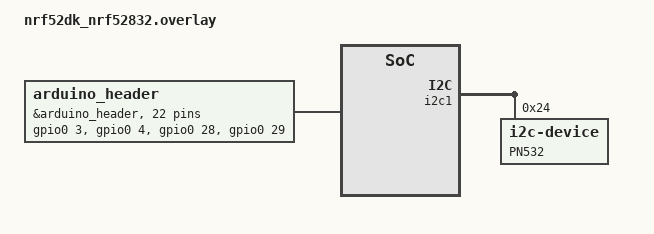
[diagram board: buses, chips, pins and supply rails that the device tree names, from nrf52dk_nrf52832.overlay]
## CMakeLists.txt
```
cmake_minimum_required(VERSION 3.20.0)
find_package(Zephyr REQUIRED HINTS $ENV{ZEPHYR_BASE})

project(i2ctest)

target_sources(app PRIVATE src/main.c)
target_sources(app PRIVATE src/nfc.c)
target_sources(app PRIVATE src/passing_buffer.c)
```

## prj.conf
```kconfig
CONFIG_I2C=y

CONFIG_SHELL=y
CONFIG_I2C_SHELL=y
# Enable Zephyr application to be booted by MCUboot
CONFIG_BOOTLOADER_MCUBOOT=y
```

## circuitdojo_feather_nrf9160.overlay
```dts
// To get started, press Ctrl+Space (or Option+Esc) to bring up the completion menu and view the available nodes.

// You can also use the buttons in the sidebar to perform actions on nodes.
// Actions currently available include:

// * Enabling / disabling the node
// * Adding the bus to a bus
// * Removing the node
// * Connecting ADC channels

// For more help, browse the DeviceTree documentation at https://docs.zephyrproject.org/latest/guides/dts/index.html
// You can also visit the nRF DeviceTree extension documentation at https://nrfconnect.github.io/vscode-nrf-connect/devicetree/nrfdevicetree.html


&i2c1 {
    PN532@24{
        compatible = "i2c-device";
        status = "okay";
        reg = < 0x24 >;
    };
    status = "okay";
};
```

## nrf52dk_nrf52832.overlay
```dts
// To get started, press Ctrl+Space (or Option+Esc) to bring up the completion menu and view the available nodes.

// You can also use the buttons in the sidebar to perform actions on nodes.
// Actions currently available include:

// * Enabling / disabling the node
// * Adding the bus to a bus
// * Removing the node
// * Connecting ADC channels

// For more help, browse the DeviceTree documentation at https://docs.zephyrproject.org/latest/guides/dts/index.html
// You can also visit the nRF DeviceTree extension documentation at https://nrfconnect.github.io/vscode-nrf-connect/devicetree/nrfdevicetree.html


&i2c1 {
    PN532@24{
        compatible = "i2c-device";
        status = "okay";
        reg = < 0x24 >;
    };
    compatible = "nordic,nrf-twi";
	/* Cannot be used together with spi1. */
	status = "okay";
	pinctrl-0 = <&i2c1_default>;
	pinctrl-1 = <&i2c1_sleep>;
	pinctrl-names = "default", "sleep";
};
&arduino_header {
    gpio-map = <0 0 &gpio0 3 0>,
               <1 0 &gpio0 4 0>,
               <2 0 &gpio0 28 0>,
               <3 0 &gpio0 29 0>,
               <4 0 &gpio0 30 0>,
               <5 0 &gpio0 31 0>,
               <6 0 &gpio0 11 0>,
               <7 0 &gpio0 12 0>,
               <8 0 &gpio0 13 0>,
               <9 0 &gpio0 14 0>,
               <10 0 &gpio0 15 0>,
               <11 0 &gpio0 16 0>,
               <12 0 &gpio0 17 0>,
               <13 0 &gpio0 18 0>,
               <14 0 &gpio0 19 0>,
               <15 0 &gpio0 20 0>,
               <16 0 &gpio0 22 0>,
               <17 0 &gpio0 23 0>,
               <18 0 &gpio0 24 0>,
               <19 0 &gpio0 25 0>,
               <20 0 &gpio0 26 0>,
               <21 0 &gpio0 27 0>;
};
```

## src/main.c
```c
#include <zephyr/kernel.h>
#include <zephyr/device.h>
#include <zephyr/devicetree.h>
#include <zephyr/drivers/i2c.h>
#include <zephyr/drivers/gpio.h>
#include <zephyr/sys/util.h>
#include <zephyr/sys/printk.h>

#include "nfc.h"
#include "passing_buffer.h"

#define SW0_NODE	DT_ALIAS(sw0)
#if !DT_NODE_HAS_STATUS(SW0_NODE, okay)
#error "Unsupported board: sw0 devicetree alias is not defined"
#endif

static const struct gpio_dt_spec button = GPIO_DT_SPEC_GET_OR(SW0_NODE, gpios,
							      {0});
static struct gpio_callback button_cb_data;



struct passing_buffer passing_buffer;

//Semaphore for ensuring no problems with the shared memory
K_SEM_DEFINE(buffer_semaphore, 1, 1);

uint32_t rfid_tag1;
uint32_t rfid_tag2;


void button_pressed(const struct device *dev, struct gpio_callback *cb,
		    uint32_t pins)
{
	printk("IRQ");
}


void network_thread(struct passing_buffer *buffer, uint32_t *rfid_tag){

    

    while(1){



        if (size(buffer)){

            k_sem_take(&buffer_semaphore, K_FOREVER);

            dequeue(buffer, rfid_tag);

            k_sem_give(&buffer_semaphore);

            //TODO: send rfid tag to the MQTT broker

            k_msleep(1000);//simulate poor connection

            printk("rfid tag: %X\n", *rfid_tag);
        }

        

    }
}

void tag_reader_thread(struct passing_buffer *buffer, uint32_t *rfid_tag){


    while(1){

        int ret = pn532_get_tag(rfid_tag);

        k_sem_take(&buffer_semaphore, K_FOREVER);
        if (ret == 0) {
            enqueue(buffer, rfid_tag);
            printk("%x added to buffer\n", *rfid_tag);

            k_msleep(200);
        }
        k_sem_give(&buffer_semaphore);
    }
}


//define and start the two threads at their corresponding entrypoints
K_THREAD_DEFINE(thread0_id, 2048, network_thread, &passing_buffer, &rfid_tag1, NULL,
		7, 0, 1000);
K_THREAD_DEFINE(thread1_id, 2048, tag_reader_thread, &passing_buffer, &rfid_tag2, NULL,
		6, 0, 1000);


int button_setup(){
    int ret;

	if (!gpio_is_ready_dt(&button)) {
		printk("Error: button device %s is not ready\n",
		       button.port->name);
		return 0;
	}

	ret = gpio_pin_configure_dt(&button, GPIO_INPUT);
	if (ret != 0) {
		printk("Error %d: failed to configure %s pin %d\n",
		       ret, button.port->name, button.pin);
		return 0;
	}

	ret = gpio_pin_interrupt_configure_dt(&button,
					      GPIO_INT_EDGE_TO_ACTIVE);
	if (ret != 0) {
		printk("Error %d: failed to configure interrupt on %s pin %d\n",
			ret, button.port->name, button.pin);
		return 0;
	}

	gpio_init_callback(&button_cb_data, button_pressed, BIT(button.pin));
	gpio_add_callback(button.port, &button_cb_data);
	printk("Set up button at %s pin %d\n", button.port->name, button.pin);
}

//main functions is used for setup code
int main(){
    button_setup();
    int ret = pn532_nfc_setup();
    if (ret){
        printk("Setup failed");
    }else{
        printk("Setup complete\n");
    }
    k_msleep(1000000);
    return 0;
}
```

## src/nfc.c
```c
#include <zephyr/kernel.h>
#include <zephyr/device.h>
#include <zephyr/devicetree.h>
#include <zephyr/drivers/i2c.h>
#include <zephyr/sys/util.h>
#include <zephyr/sys/printk.h>
#include "nfc.h"

#define PN532_I2C_ADDRESS 0x24


//I2C stuff
#define I2C1_NODE DT_NODELABEL(i2c1)
static const struct device *i2c1_dev = DEVICE_DT_GET(I2C1_NODE);

uint8_t command[11] = {
    0x00, //preamble
    0x00, // 0x00FF command start
    0xFF, 
    4, //data length
    0xFC, //data length checksum

    0xD4, //D4= host -> PN532
    0x4A, //comand code for InListPassiveTarget
    0x01, //return 1 target
    0x00, //scan for Type A

    0xE1, //data checksum
    0x00, //postamble
    };
uint8_t SamConfig[12] = {
    0x00, //preamble
    0x00, // 0x00FF command start
    0xFF, 
    5, //data length
    0xFB, //data length checksum

    0xD4, //D4= host -> PN532
    0x14, //command code
    0x01, //normal mode
    0x00, //timeout: 00->no timeout
    0x01, //use IRQ

    0x16, //data checksum
    0x00, //postamble
};

void print_bytes(uint8_t bytes[], uint32_t len){
    for(int i = 0; i < len; i++){
        printk("%02X ", bytes[i]);
    }
}

int PN532_wait_for_RDY(){
    uint8_t buf[1];
    int ret;
    for(int i = 0; i < 100; i++){
        //give time
        k_msleep(20);

        ret = i2c_read(i2c1_dev, buf, 1, PN532_I2C_ADDRESS);
        if(ret){
            return -2;
        }

        if(buf[0] == 1){
            return 0;
        }
    }
    return -1;
}
/**
 * @brief Attempts to send a command to the pn532 and waits for the response 
 * 
 * @param dev Pointer to the device structure for an I2C controller driver configured in controller mode.
 * @param i2c_address i2c address of the pn532
 * @param msg Memory pool from which the data is transferred.
 * @param msg_len Amount of bytes in data to be transferred
 * @param res_buf Memory pool to store ressponse
 * @param res_buf_len Amount of bytes in response
 * @param verbose prints debugging information
 * @return int 0 if success, negative if failed
 */
int pn532_send_receive_message(struct device *dev, uint8_t i2c_address, uint8_t *msg, uint32_t msg_len, uint8_t *res_buf, uint32_t res_buf_len, bool verbose){
    int ret;


    ret = i2c_write(dev, msg, msg_len, i2c_address);
    if (ret){
        return -1; //write error
    }

    if (verbose){
        printk("Msg sent\n");
    }

    ret = PN532_wait_for_RDY();
    if (ret){
        return -3+ret; //RDY wait error
    }

    if (verbose){
        printk("RDY\n");
    }

    ret = i2c_read(dev, res_buf, 7, i2c_address); //check for ACK
    if(ret){
        return -2; // read error
    }

    if (verbose){
        printk("Ack recieved\n");
    }

    ret = PN532_wait_for_RDY();
    if (ret){
        return -3+ret; //RDY wait error
    }

    if (verbose){
        printk("RDY\n");
    }

    ret = i2c_read(dev, res_buf, res_buf_len, i2c_address); //read response message
    if(ret){
        return -2; // read error
    }
    
    if (verbose){
        printk("Response read\n");
    }

    return 0;

}

int pn532_nfc_setup(){
    int ret;

    uint8_t res_buf[30];
    
    /*ret = pn532_send_receive_message(i2c1_dev, PN532_I2C_ADDRESS, RFfieldOn, 11, res_buf, 30, false);
    if(ret){
        printk("send/receive error: %d\n", ret);
    }*/
    //printk("recieved: ");
    //print_bytes(res_buf, 30);
    //printk("\n");


    ret = pn532_send_receive_message(i2c1_dev, PN532_I2C_ADDRESS, SamConfig, 12, res_buf, 30, false);
    if(ret){
        printk("Send/Receive error: %d\n", ret);
        return -1;
    }
}

int pn532_get_tag(uint32_t *rfid_tag_buffer){

    int ret;
    
    uint8_t res_buf[30];

    ret = pn532_send_receive_message(i2c1_dev, PN532_I2C_ADDRESS, command, 11, res_buf, 30, false);


    if(ret == -4){
        return ret;
    }else if (ret){
        return -1;
    }else{
        uint8_t length = res_buf[13];
        *rfid_tag_buffer = (int)res_buf[14] << 24 | (int)res_buf[15] << 16 | (int)res_buf[16] << 8 | (int)res_buf[17];
        return 0;
    }


}
```

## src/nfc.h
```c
#ifndef NFC_H
#define NFC_H

void print_bytes(uint8_t bytes[], uint32_t len);
int PN532_wait_for_RDY();
int pn532_send_receive_message(struct device *dev, uint8_t i2c_address, uint8_t *msg, uint32_t msg_len, uint8_t *res_buf, uint32_t res_buf_len, bool verbose);
int pn532_nfc_setup();
int pn532_get_tag_loop(uint32_t *rfid_tag_buffer);
int pn532_get_tag(uint32_t *rfid_tag_buffer, int index);

#endif
```

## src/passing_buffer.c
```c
#include <zephyr/sys/util.h>
#include "passing_buffer.h"




int enqueue(struct passing_buffer *q, uint32_t* rfid){
    if (q->size < BUFFER_SIZE){
        q->buffer[q->back] = *rfid;
        q->back = (q->back+1)%BUFFER_SIZE;
        q->size++;
    }
    return 0;
}

int dequeue(struct passing_buffer *q, uint32_t* rfid){
    if (q->size > 0) {
        *rfid = q->buffer[q->front];
        q->front = (q->front+1)%BUFFER_SIZE;
        q->size--;
    }
    return 0;
}

int size(struct passing_buffer *q){
    return q->size;
}
```

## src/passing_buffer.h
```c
#ifndef PASSING_BUFFER_H
#define PASSING_BUFFER_H

#define BUFFER_SIZE 128


struct passing_buffer{
    int front;
    int back;
    int size;
    int buffer[BUFFER_SIZE]; 
};

int enqueue(struct passing_buffer *q, uint32_t* rfid);
int dequeue(struct passing_buffer *q, uint32_t* rfid);
int size(struct passing_buffer *q);

#endif
```
